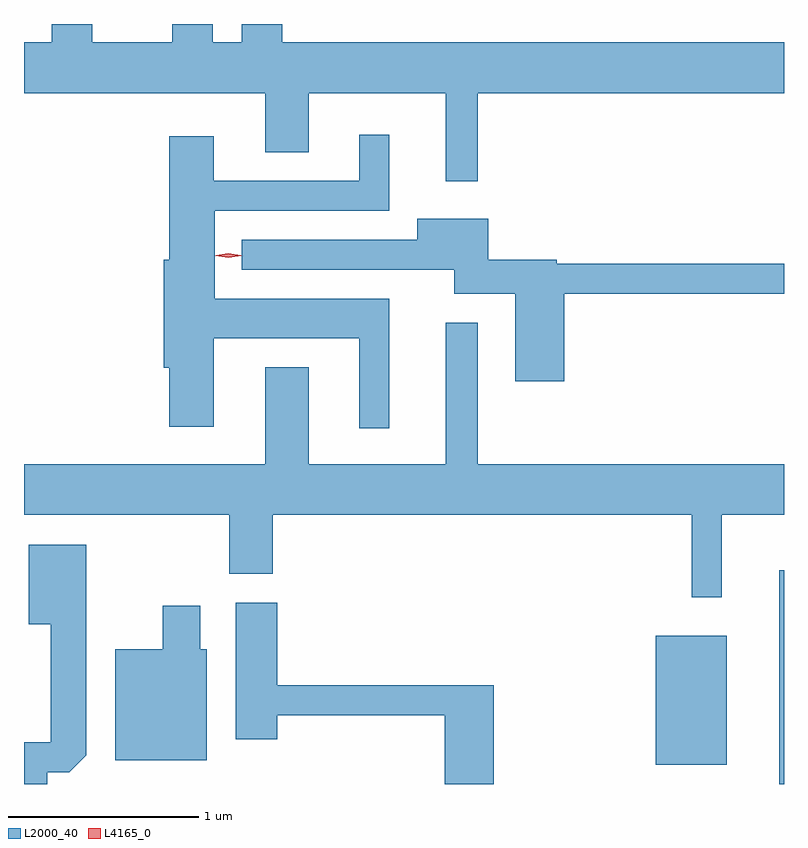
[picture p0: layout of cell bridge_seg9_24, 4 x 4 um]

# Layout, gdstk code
import gdstk
lib = gdstk.Library(unit=1e-6, precision=1e-09)
def R(c, l, rs):  # rectangles x0, y0, x1, y1
    for r in rs: c.add(gdstk.rectangle(r[:2], r[2:], *l))
def P(c, l, *ps):  # polygons
    for p in ps: c.add(gdstk.Polygon(p, *l))
L2000_40 = (2000, 40)
L4165_0 = (4165, 0)

bridge_seg9_24 = lib.new_cell('bridge_seg9_24')
R(bridge_seg9_24, L2000_40, [(1541.626,2076.98,1541.651,2078.104), (1540.976,2077.081,1541.349,2077.759)])
P(bridge_seg9_24, L2000_40, [(1540.039,2080.616),(1541.651,2080.616),(1541.651,2080.884),(1539.009,2080.884),(1539.009,2080.98),(1538.796,2080.98),(1538.796,2080.884),(1538.644,2080.884),(1538.644,2080.98),(1538.431,2080.98),(1538.431,2080.884),(1538.009,2080.884),(1538.009,2080.98),(1537.796,2080.98),(1537.796,2080.884),(1537.651,2080.884),(1537.651,2080.616),(1538.921,2080.616),(1538.921,2080.306),(1539.149,2080.306),(1539.149,2080.616),(1539.871,2080.616),(1539.871,2080.153),(1540.039,2080.153)],
  [(1539.574,2079.534),(1538.654,2079.534),(1538.654,2079.996),(1539.574,2079.996),(1539.574,2080.398),(1539.416,2080.398),(1539.416,2080.154),(1538.649,2080.154),(1538.649,2080.389),(1538.416,2080.389),(1538.416,2079.739),(1538.386,2079.739),(1538.386,2079.171),(1538.416,2079.171),(1538.416,2078.861),(1538.649,2078.861),(1538.649,2079.326),(1539.416,2079.326),(1539.416,2078.853),(1539.574,2078.853)],
  [(1540.494,2079.561),(1541.651,2079.561),(1541.651,2079.719),(1540.454,2079.719),(1540.454,2079.739),(1540.094,2079.739),(1540.094,2079.954),(1539.721,2079.954),(1539.721,2079.844),(1538.798,2079.844),(1538.798,2079.686),(1539.916,2079.686),(1539.916,2079.561),(1540.236,2079.561),(1540.236,2079.101),(1540.494,2079.101)],
  [(1541.324,2078.396),(1541.651,2078.396),(1541.651,2078.664),(1540.039,2078.664),(1540.039,2079.408),(1539.871,2079.408),(1539.871,2078.664),(1539.149,2078.664),(1539.149,2079.174),(1538.921,2079.174),(1538.921,2078.664),(1537.651,2078.664),(1537.651,2078.396),(1538.731,2078.396),(1538.731,2078.086),(1538.959,2078.086),(1538.959,2078.396),(1541.166,2078.396),(1541.166,2077.963),(1541.324,2077.963)],
  [(1537.774,2077.041),(1537.889,2077.041),(1537.979,2077.132),(1537.979,2078.239),(1537.676,2078.239),(1537.676,2077.821),(1537.791,2077.821),(1537.791,2077.199),(1537.651,2077.199),(1537.651,2076.98),(1537.774,2076.98)],
  [(1540.124,2077.499),(1538.984,2077.499),(1538.984,2077.934),(1538.766,2077.934),(1538.766,2077.216),(1538.984,2077.216),(1538.984,2077.341),(1539.866,2077.341),(1539.866,2076.98),(1540.124,2076.98)],
  [(1538.614,2077.689),(1538.579,2077.689),(1538.579,2077.919),(1538.381,2077.919),(1538.381,2077.689),(1538.131,2077.689),(1538.131,2077.106),(1538.614,2077.106)])
P(bridge_seg9_24, L4165_0, [(1538.727,2079.754),(1538.662,2079.763),(1538.661,2079.764),(1538.662,2079.764),(1538.727,2079.774),(1538.792,2079.764),(1538.793,2079.764),(1538.792,2079.763)],
  [(1538.727,2079.75),(1538.658,2079.759),(1538.657,2079.76),(1538.658,2079.76),(1538.727,2079.77),(1538.796,2079.761),(1538.796,2079.76),(1538.796,2079.76)])

lib.write_gds('bridge_seg9_24.gds')
